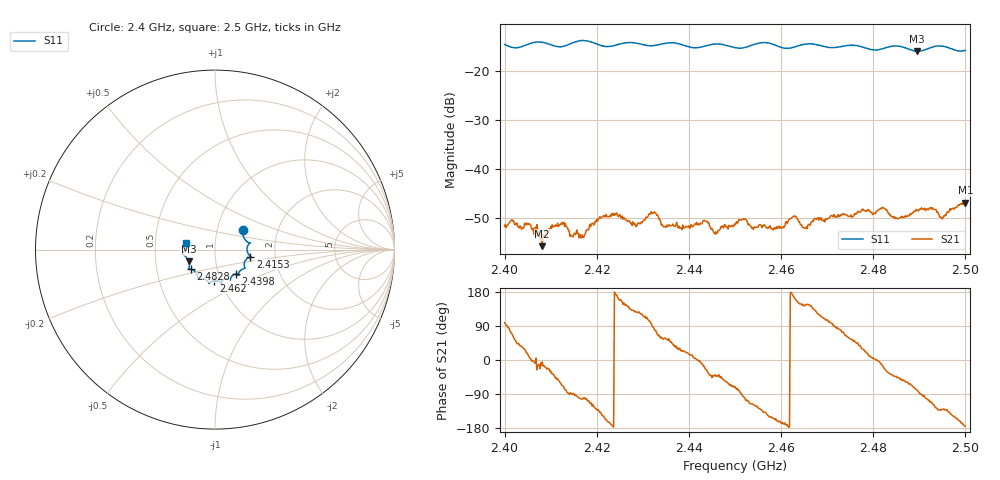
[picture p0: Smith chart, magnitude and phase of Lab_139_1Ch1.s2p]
# Hz S RI R 50
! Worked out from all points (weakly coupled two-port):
!   601 points, 2.4 GHz to 2.5 GHz, reference 50 ohm
!   highest |S21| = -46.95 dB at 2.5 GHz (marker M1); lowest = -55.9 dB at 2.4082 GHz (marker M2)
!   lowest |S11| = -15.9 dB at 2.4895 GHz (marker M3), VSWR 1.38, Z = 37 - j5 ohm
!   |S11| at or under -10 dB: start of sweep to end of sweep
!   S12 and S22 are empty: the file has one direction only
!   S11 on the Smith chart (normalised r, x): 2.4 GHz: 1.33, +0.29; 2.4153 GHz: 1.48, -0.12; 2.4398 GHz: 1.21, -0.34; 2.462 GHz: 0.93, -0.33; 2.4828 GHz: 0.74, -0.17; 2.5 GHz: 0.72, +0.06
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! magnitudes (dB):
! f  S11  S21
! 2.4 GHz  -14.5  -51.8
! 2.4052 GHz  -14.4  -51.4
! 2.4082 GHz  -14.1  -55.9
! 2.4123 GHz  -15.0  -51.1
! 2.4153 GHz  -14.0  -53.5
! 2.4167 GHz  -13.7  -54.2
! 2.4217 GHz  -14.9  -49.6
! 2.4282 GHz  -14.2  -51.5
! 2.4333 GHz  -14.6  -49.7
! 2.4345 GHz  -14.3  -51.9
! 2.4398 GHz  -15.0  -51.9
! 2.4435 GHz  -14.8  -50.7
! 2.4458 GHz  -14.4  -52.9
! 2.45 GHz  -15.1  -51.2
! 2.4583 GHz  -14.5  -52.6
! 2.462 GHz  -15.2  -50.3
! 2.4667 GHz  -14.4  -50.9
! 2.4828 GHz  -15.1  -48.5
! 2.4833 GHz  -15.0  -49.3
! 2.4895 GHz  -15.9  -48.6
! 2.495 GHz  -14.8  -50.3
! 2.5 GHz  -15.7  -46.9
